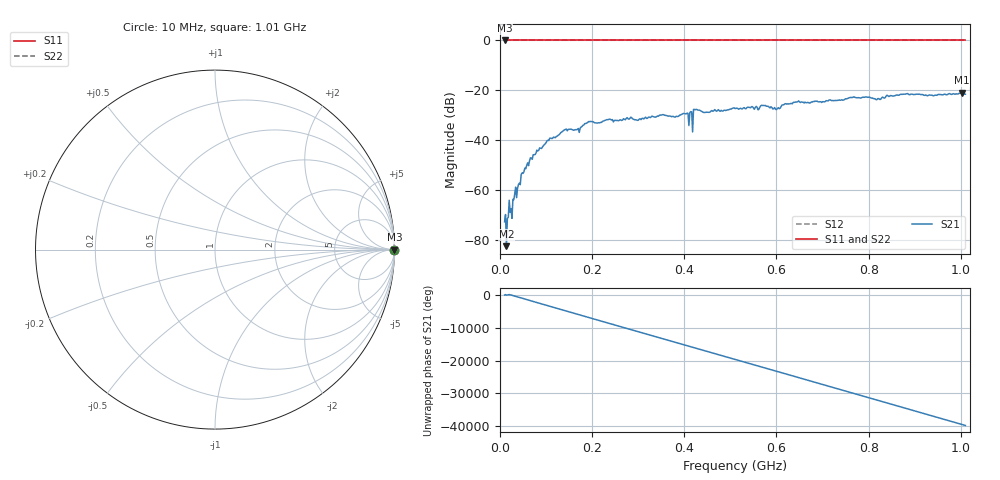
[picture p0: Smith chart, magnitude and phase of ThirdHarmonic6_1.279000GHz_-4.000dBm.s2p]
! 8/16/2025 1:53:46 PM
! C:\ANRITSUVNA\TEMP\TEMP.S2P
! CHANNEL.1
! TR.MEASUREMENT
! RAW.DATA
! RF.CORRECTION.OFF
! AVERAGING.OFF
! IF.BANDWIDTH: 5KHZ
! SWEEPTYPE:  FREQ.SWEEP(Linear)
! Reference Plane Port Info
! PORT:  PORT1  PORT2
! DISTANCE:  0  m  0  m
! TIME:  0  s  0  s
! PHASE.OFFSET:  0  deg.  0  deg.
! LOSS:  0  dB  0  dB
! REF.LOSS:  0  dB  0  dB
! REF.FREQ:  0  Hz  0  Hz
! Power Info
! POWER:  -20  dBm  -20  dBm
! EFF.POWER:  -20  dBm  -20  dBm
! SOURCE.ATTEN:  0  dB  0  dB
! TEST.ATTEN:  0  dB  0  dB
# GHZ S RI R 50.0
! FREQ.GHZ  S11RE  S11IM  S21RE  S21IM  S12RE  S12IM  S22RE  S22IM
!; PortSelection: Port_12
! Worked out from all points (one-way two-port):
!   501 points, 10 MHz to 1.01 GHz, reference 50 ohm
!   highest |S21| = -20.93 dB at 1.002 GHz (marker M1); lowest = -82.4 dB at 14 MHz (marker M2)
!   lowest |S11| = 0.0 dB at 10 MHz (marker M3)
!   |S11| at or under -10 dB: nowhere
!   |S22| runs from 0.0 to 0.0 dB; largest |S21 - S12| = 1.1
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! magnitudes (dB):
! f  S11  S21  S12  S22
! 10 MHz  0.0  -72.7  0.0  0.0
! 14 MHz  0.0  -82.4  0.0  0.0
! 20 MHz  0.0  -64.0  0.0  0.0
! 50 MHz  0.0  -53.3  0.0  0.0
! 70 MHz  0.0  -47.6  0.0  0.0
! 106 MHz  0.0  -40.1  0.0  0.0
! 140 MHz  0.0  -35.8  0.0  0.0
! 178 MHz  0.0  -34.5  0.0  0.0
! 196 MHz  0.0  -32.4  0.0  0.0
! 344 MHz  0.0  -30.3  0.0  0.0
! 404 MHz  0.0  -29.4  0.0  0.0
! 414 MHz  0.0  -28.5  0.0  0.0
! 424 MHz  0.0  -27.7  0.0  0.0
! 446 MHz  0.0  -28.8  0.0  0.0
! 510 MHz  0.0  -27.3  0.0  0.0
! 572 MHz  0.0  -26.0  0.0  0.0
! 602 MHz  0.0  -27.2  0.0  0.0
! 644 MHz  0.0  -24.7  0.0  0.0
! 678 MHz  0.0  -24.6  0.0  0.0
! 844 MHz  0.0  -22.5  0.0  0.0
! 1.002 GHz  0.0  -20.9  0.0  0.0
! 1.01 GHz  0.0  -21.5  0.0  0.0
